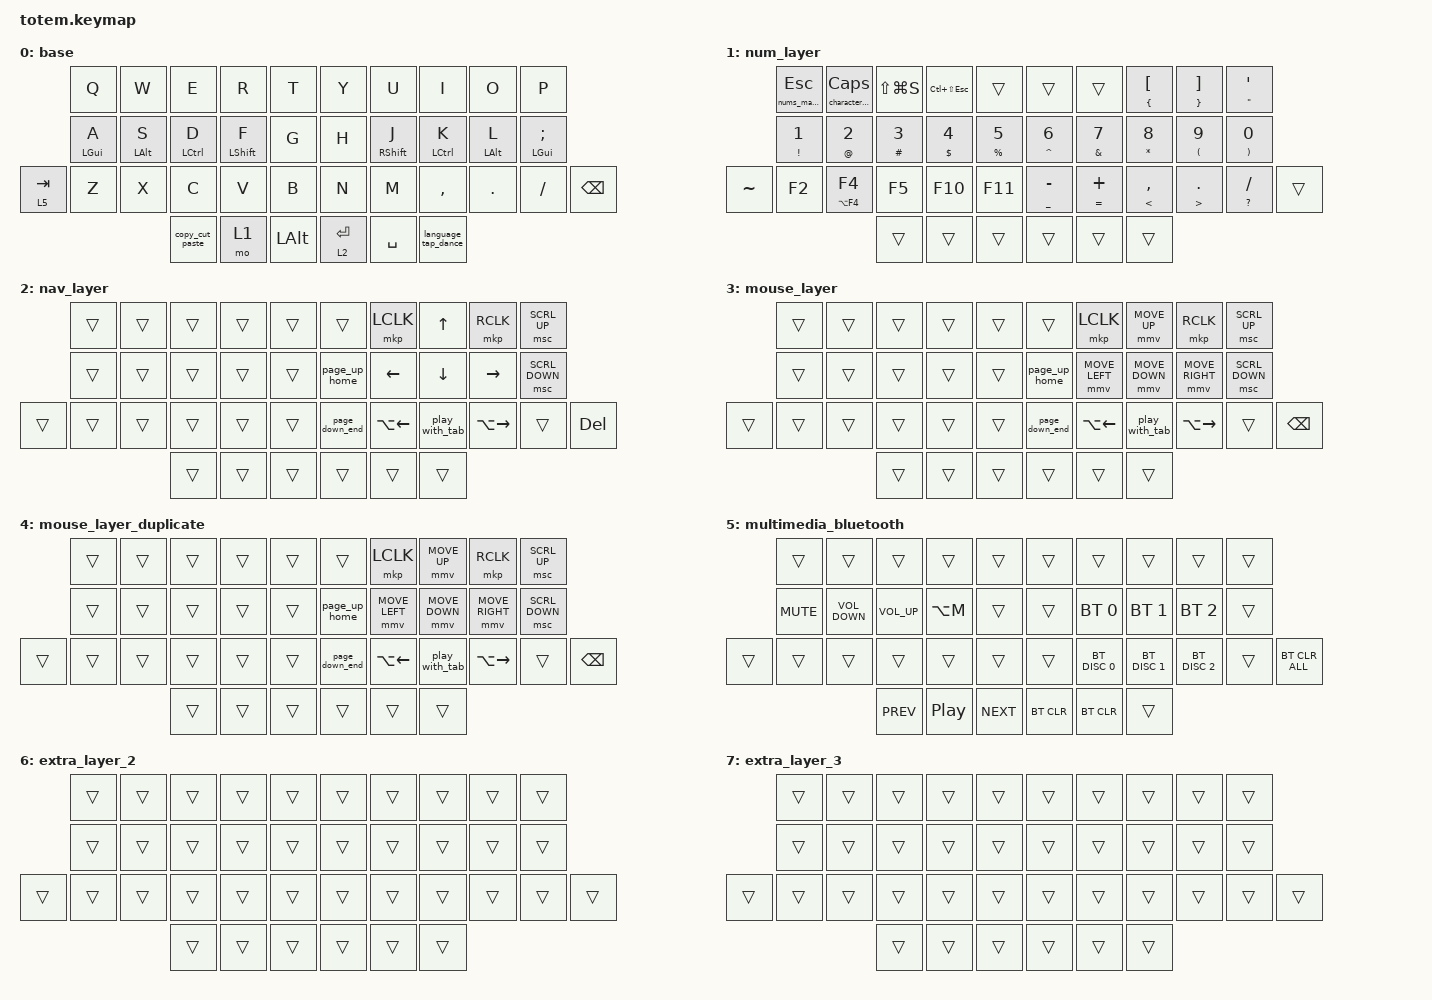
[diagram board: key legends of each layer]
//
//                                                        ▀▀▀▀▀     ▀▀▀▀▀          ▀▀█▀▀
//                                                        ▄▀▀▀▄  ▄  ▄▀▀▀▄  ▄  ▄▀▀▀▄  █  ▄▀▀▀▄
//                                                        █   █  █  █   █  █  █   █  █  █   █
//                                                         ▀▀▀   █   ▀▀▀   █   ▀▀▀   ▀   ▀▀▀
//                                                               █      ▄▄▄█▄▄▄    █   █  
//                                                               ▀      █  █  █     █▄█
//                                                             ▀▀▀▀▀    █  █  █      ▀
//                                                                      ▀  ▀  ▀
//
// ▄▄▄▄▄▄▄▄▄▄▄▄▄▄▄▄▄▄▄▄▄▄▄▄▄▄▄▄▄▄▄▄▄▄▄▄▄▄▄▄▄▄▄▄▄▄▄▄▄▄▄▄▄▄▄▄▄▄▄▄▄▄▄▄▄▄▄▄▄▄▄▄▄▄▄▄▄▄▄▄▄▄▄▄▄▄▄▄▄▄▄▄▄▄▄▄▄▄▄▄▄▄▄▄▄▄▄▄▄▄▄▄▄▄▄▄▄▄▄▄▄▄▄▄▄▄▄▄▄▄▄▄▄▄▄▄▄▄▄▄▄▄▄▄▄▄▄▄▄

#include <behaviors.dtsi>
#include <dt-bindings/zmk/bt.h>
#include <dt-bindings/zmk/keys.h>
#include <dt-bindings/zmk/pointing.h>

&mt {
    flavor = "tap-preferred";
    tapping-term-ms = <300>;
    quick-tap-ms = <150>;
};

/ {
    behaviors {
        home_row: home_row {
            compatible = "zmk,behavior-hold-tap";
            label = "HOME_ROW";
            bindings = <&kp>, <&kp>;

            #binding-cells = <2>;
            tapping-term-ms = <200>;
            quick-tap-ms = <130>;
            flavor = "tap-preferred";
            require-prior-idle-ms = <130>;
        };

        language_tap_dance: language_tap_dance {
            compatible = "zmk,behavior-tap-dance";
            label = "LANGUAGE_TAP_DANCE";
            #binding-cells = <0>;
            bindings = <&lt 4 LANG1>, <&kp LANGUAGE_2>;
        };

        home_row_shift: home_row_shift {
            compatible = "zmk,behavior-hold-tap";
            label = "HOME_ROW_SHIFT";
            bindings = <&kp>, <&kp>;

            #binding-cells = <2>;
            tapping-term-ms = <200>;
            quick-tap-ms = <130>;
            flavor = "tap-preferred";
            require-prior-idle-ms = <60>;
        };

        copy_cut_paste: copy_cut_paste {
            compatible = "zmk,behavior-tap-dance";
            label = "COPY_CUT_PASTE";
            #binding-cells = <0>;
            bindings = <&mt LC(X) LC(C)>, <&kp LC(V)>;
        };

        page_up_home: page_up_home {
            compatible = "zmk,behavior-tap-dance";
            label = "PAGE_UP_HOME";
            #binding-cells = <0>;
            bindings = <&kp PAGE_UP>, <&kp HOME>;
        };

        page_down_end: page_down_end {
            compatible = "zmk,behavior-tap-dance";
            label = "PAGE_DOWN_END";
            #binding-cells = <0>;
            bindings = <&kp PAGE_DOWN>, <&kp END>;
        };

        play_with_tab: play_with_tab {
            compatible = "zmk,behavior-tap-dance";
            label = "PLAY_WITH_TAB";
            #binding-cells = <0>;
            bindings = <&mt LC(LS(T)) LC(W)>, <&mt LG(TAB) F5>;

            tapping-term-ms = <300>;
        };

        esc_and_nums: esc_and_nums {
            compatible = "zmk,behavior-hold-tap";
            label = "ESC_AND_NUMS";
            bindings = <&nums_macro>, <&kp>;

            #binding-cells = <2>;
            tapping-term-ms = <200>;
        };

        capslock_and_characters: capslock_and_characters {
            compatible = "zmk,behavior-hold-tap";
            label = "CAPSLOCK_AND_CHARACTERS";
            bindings = <&characters_macro>, <&kp>;

            #binding-cells = <2>;
            tapping-term-ms = <200>;
        };

        win_left_arrow: win_left_arrow {
            compatible = "zmk,behavior-tap-dance";
            label = "WIN_LEFT_ARROW";
            #binding-cells = <0>;
            bindings = <&kp LG(LEFT)>, <&kp LC(LG(LEFT))>;

            tapping-term-ms = <500>;
        };

        win_right_arrow: win_right_arrow {
            compatible = "zmk,behavior-tap-dance";
            label = "WIN_RIGHT_ARROW";
            #binding-cells = <0>;
            bindings = <&kp LG(RIGHT)>, <&kp LC(LG(RIGHT))>;

            tapping-term-ms = <500>;
        };
    };

    combos {
        compatible = "zmk,combos";

        Middle-click {
            bindings = <&mkp MCLK>;
            key-positions = <6 8>;
            layers = <3 4>;
        };

        mouse_mode_fix {
            bindings = <&to 3>;
            key-positions = <16 17 18>;
            layers = <0>;
        };

        return_to_base_layer {
            bindings = <&to 0>;
            key-positions = <13 12>;
            layers = <3>;
        };

        previous_tab {
            bindings = <&kp LC(LS(TAB))>;
            key-positions = <6 7>;
            layers = <3 4>;
        };

        next_tab {
            bindings = <&kp LC(TAB)>;
            key-positions = <7 8>;
            layers = <3 4>;
        };

        alt_F_and_back-to-base {
            bindings = <&alt_F_and_base>;
            key-positions = <34 13>;
            layers = <3>;
        };

        return_to_base_layer_2 {
            bindings = <&to 0>;
            key-positions = <28 27 29>;
            layers = <3 4>;
        };

        win_play_left {
            bindings = <&win_left_arrow>;
            key-positions = <27 28>;
            layers = <3 4 0>;
        };

        win_play_right {
            bindings = <&win_right_arrow>;
            key-positions = <28 29>;
            layers = <3 4 0>;
        };

        win_tab {
            bindings = <&kp LG(TAB)>;
            key-positions = <18 19>;
            layers = <0 3 4>;
        };
    };

    macros {
        alt_F_and_base: alt_F_and_base {
            compatible = "zmk,behavior-macro";
            #binding-cells = <0>;
            bindings =
                <&macro_press>,
                <&kp LALT>,
                <&macro_tap>,
                <&kp F>,
                <&macro_release>,
                <&kp LALT>,
                <&macro_tap>,
                <&to 0>;
        };

        nums_macro: nums_macro {
            compatible = "zmk,behavior-macro";
            #binding-cells = <0>;
            bindings = <&kp NUMBER_4 &kp NUMBER_1 &kp NUMBER_1 &kp NUMBER_7 &kp NUMBER_8 &kp NUMBER_8>;
            label = "NUMS_MACRO";
        };

        characters_macro: characters_macro {
            compatible = "zmk,behavior-macro";
            #binding-cells = <0>;
            bindings = <&kp D &kp N &kp W &kp N &kp C &kp J &kp S &kp W &kp O &kp NUMBER_1 &kp EXCLAMATION>;
            label = "CHARACTERS_MACRO";
        };
    };

    keymap {
        compatible = "zmk,keymap";

        base {
            bindings = <
           &kp Q                 &kp W                 &kp E              &kp R                         &kp T       &kp Y        &kp U                          &kp I                &kp O                 &kp P
           &home_row LEFT_GUI A  &home_row LEFT_ALT S  &home_row LCTRL D  &home_row_shift LEFT_SHIFT F  &kp G       &kp H        &home_row_shift RIGHT_SHIFT J  &home_row LCTRL K    &home_row LEFT_ALT L  &home_row LEFT_GUI SEMICOLON
&lt 5 TAB  &kp Z                 &kp X                 &kp C              &kp V                         &kp B       &kp N        &kp M                          &kp COMMA            &kp DOT               &kp FSLH                      &kp BACKSPACE
                                                       &copy_cut_paste    &mo 1                         &kp LALT    &lt 2 ENTER  &kp SPACE                      &language_tap_dance
            >;
        };

        num_layer {
            bindings = <
           &esc_and_nums 0 ESCAPE    &capslock_and_characters 0 CAPSLOCK  &kp LS(LG(S))      &kp LC(LS(ESC))      &trans                  &trans              &trans                  &mt LEFT_BRACE LEFT_BRACKET  &mt RIGHT_BRACE RIGHT_BRACKET  &mt DOUBLE_QUOTES SQT
           &mt EXCLAMATION NUMBER_1  &mt AT_SIGN NUMBER_2                 &mt HASH NUMBER_3  &mt DOLLAR NUMBER_4  &mt PERCENT NUMBER_5    &mt CARET NUMBER_6  &mt AMPERSAND NUMBER_7  &mt ASTERISK NUMBER_8        &mt LEFT_PARENTHESIS NUMBER_9  &mt RIGHT_PARENTHESIS NUMBER_0
&kp TILDE  &kp F2                    &mt LA(F4) F4                        &kp F5             &kp F10              &kp F11                 &mt UNDER MINUS     &mt EQUAL PLUS          &mt LESS_THAN COMMA          &mt GREATER_THAN PERIOD        &mt QUESTION SLASH              &trans
                                                                          &trans             &trans               &trans                  &trans              &trans                  &trans
            >;
        };

        nav_layer {
            bindings = <
        &trans  &trans  &trans  &trans  &trans    &trans          &mkp LCLK           &kp UP_ARROW    &mkp RCLK            &msc SCRL_UP
        &trans  &trans  &trans  &trans  &trans    &page_up_home   &kp LEFT_ARROW      &kp DOWN_ARROW  &kp RIGHT_ARROW      &msc SCRL_DOWN
&trans  &trans  &trans  &trans  &trans  &trans    &page_down_end  &kp LA(LEFT_ARROW)  &play_with_tab  &kp LA(RIGHT_ARROW)  &trans          &kp DELETE
                        &trans  &trans  &trans    &trans          &trans              &trans
            >;
        };

        mouse_layer {
            bindings = <
        &trans  &trans  &trans  &trans  &trans    &trans          &mkp LCLK           &mmv MOVE_UP    &mkp RCLK            &msc SCRL_UP
        &trans  &trans  &trans  &trans  &trans    &page_up_home   &mmv MOVE_LEFT      &mmv MOVE_DOWN  &mmv MOVE_RIGHT      &msc SCRL_DOWN
&trans  &trans  &trans  &trans  &trans  &trans    &page_down_end  &kp LA(LEFT_ARROW)  &play_with_tab  &kp LA(RIGHT_ARROW)  &trans          &kp BSPC
                        &trans  &trans  &trans    &trans          &trans              &trans
            >;
        };

        mouse_layer_duplicate {
            bindings = <
        &trans  &trans  &trans  &trans  &trans    &trans          &mkp LCLK           &mmv MOVE_UP    &mkp RCLK            &msc SCRL_UP
        &trans  &trans  &trans  &trans  &trans    &page_up_home   &mmv MOVE_LEFT      &mmv MOVE_DOWN  &mmv MOVE_RIGHT      &msc SCRL_DOWN
&trans  &trans  &trans  &trans  &trans  &trans    &page_down_end  &kp LA(LEFT_ARROW)  &play_with_tab  &kp LA(RIGHT_ARROW)  &trans          &kp BACKSPACE
                        &trans  &trans  &trans    &trans          &trans              &trans
            >;
        };

        multimedia_bluetooth {
            bindings = <
        &trans      &trans             &trans           &trans            &trans        &trans      &trans         &trans         &trans         &trans
        &kp C_MUTE  &kp C_VOLUME_DOWN  &kp C_VOLUME_UP  &kp LA(M)         &trans        &trans      &bt BT_SEL 0   &bt BT_SEL 1   &bt BT_SEL 2   &trans
&trans  &trans      &trans             &trans           &trans            &trans        &trans      &bt BT_DISC 0  &bt BT_DISC 1  &bt BT_DISC 2  &trans  &bt BT_CLR_ALL
                                       &kp C_PREV       &kp C_PLAY_PAUSE  &kp C_NEXT    &bt BT_CLR  &bt BT_CLR     &trans
            >;
        };

        extra_layer_2 {
            bindings = <
        &trans  &trans  &trans  &trans  &trans    &trans  &trans  &trans  &trans  &trans
        &trans  &trans  &trans  &trans  &trans    &trans  &trans  &trans  &trans  &trans
&trans  &trans  &trans  &trans  &trans  &trans    &trans  &trans  &trans  &trans  &trans  &trans
                        &trans  &trans  &trans    &trans  &trans  &trans
            >;
        };

        extra_layer_3 {
            bindings = <
        &trans  &trans  &trans  &trans  &trans    &trans  &trans  &trans  &trans  &trans
        &trans  &trans  &trans  &trans  &trans    &trans  &trans  &trans  &trans  &trans
&trans  &trans  &trans  &trans  &trans  &trans    &trans  &trans  &trans  &trans  &trans  &trans
                        &trans  &trans  &trans    &trans  &trans  &trans
            >;
        };

        extra1 { status = "reserved"; };

        extra2 { status = "reserved"; };

        extra3 { status = "reserved"; };
    };

    conditional_layers {
        compatible = "zmk,conditional-layers";

        one_plus_two_is_three {
            if-layers = <2 1>;
            then-layer = <3>;
        };
    };
};
